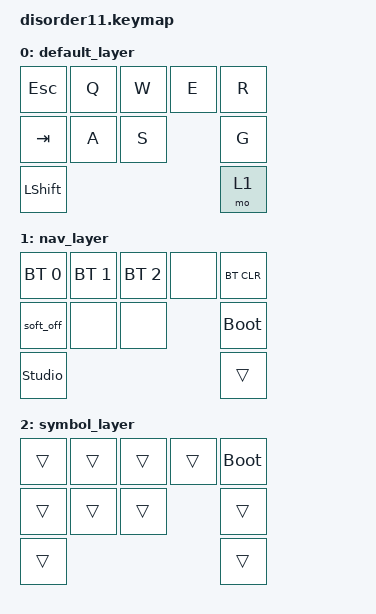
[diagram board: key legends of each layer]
/*
 * Copyright (c) 2023 The ZMK Contributors
 *
 * SPDX-License-Identifier: MIT
 */

#define DEFAULT 0
#define LOWER   1
#define RAISE   2

#include <behaviors.dtsi>
#include <dt-bindings/zmk/keys.h>
#include <dt-bindings/zmk/bt.h>
#include <dt-bindings/zmk/outputs.h>

/ {
    keymap {
        compatible = "zmk,keymap";

        default_layer {
            bindings = <
    &kp ESC     &kp Q     &kp W     &kp E      &kp R
    &kp TAB     &kp A     &kp S                &kp G
    &kp LSHIFT                                 &mo 1 
            >;
        };

        nav_layer {
            bindings = <
    &bt BT_SEL 0    &bt BT_SEL 1   &bt BT_SEL 2    &none      &bt BT_CLR
    &soft_off       &none         &none                      &bootloader
    &studio_unlock                                             &trans
            >;
        };

        symbol_layer {
            bindings = <
    &trans     &trans    &trans     &trans      &bootloader
    &trans     &trans     &trans                &trans
    &trans                                      &trans
            >;
        };
    };
};
